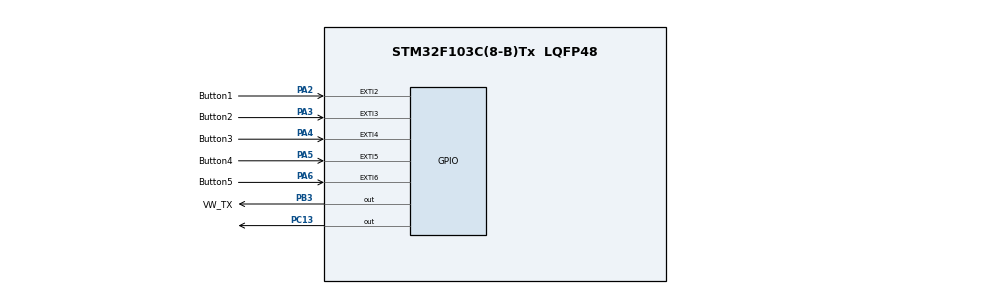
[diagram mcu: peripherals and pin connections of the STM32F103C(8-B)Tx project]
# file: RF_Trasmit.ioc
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Mcu.Family=STM32F1
PA2.GPIO_PuPd=GPIO_PULLUP
NVIC.EXTI4_IRQn=true\:2\:0\:true\:false\:true\:true\:true
PA5.GPIO_ModeDefaultEXTI=GPIO_MODE_IT_FALLING
PA6.GPIO_ModeDefaultEXTI=GPIO_MODE_IT_FALLING
PD1-OSC_OUT.Mode=HSE-External-Oscillator
TIM1.Channel-Output\ Compare1\ No\ Output=TIM_CHANNEL_1
PA3.GPIO_PuPd=GPIO_PULLUP
NVIC.EXTI3_IRQn=true\:2\:0\:true\:false\:true\:true\:true
PC13-TAMPER-RTC.Signal=GPIO_Output
PA6.GPIO_Label=Button5
PD0-OSC_IN.Signal=RCC_OSC_IN
ProjectManager.StackSize=0x400
VP_TIM1_VS_no_output1.Mode=Output Compare1 No Output
PD1-OSC_OUT.Signal=RCC_OSC_OUT
PA3.GPIO_ModeDefaultEXTI=GPIO_MODE_IT_FALLING
PA13.Signal=SYS_JTMS-SWDIO
TIM1.Prescaler=7
ProjectManager.TargetToolchain=MDK-ARM V5
PA4.GPIO_ModeDefaultEXTI=GPIO_MODE_IT_FALLING
PD0-OSC_IN.Mode=HSE-External-Oscillator
PA5.Signal=GPXTI5
PA4.GPIO_PuPd=GPIO_PULLUP
board=custom
RCC.APB2Freq_Value=8000000
PA6.GPIO_PuPd=GPIO_PULLUP
PB3.GPIO_PuPd=GPIO_PULLDOWN
PA14.Mode=Serial_Wire
PA5.GPIO_PuPd=GPIO_PULLUP
PA13.Mode=Serial_Wire
Mcu.Name=STM32F103C(8-B)Tx
VP_TIM1_VS_ClockSourceINT.Mode=Internal
PA2.Signal=GPXTI2
NVIC.TIM1_CC_IRQn=true\:1\:0\:true\:false\:true\:true\:true
PB3.Signal=GPIO_Output
PA4.Signal=GPXTI4
Mcu.Package=LQFP48
PA6.Signal=GPXTI6
PA5.GPIO_Label=Button4
PC13-TAMPER-RTC.GPIO_PuPd=GPIO_PULLDOWN
PA2.GPIO_Label=Button1
NVIC.EXTI9_5_IRQn=true\:2\:0\:true\:false\:true\:true\:true
PA14.Signal=SYS_JTCK-SWCLK
ProjectManager.HeapSize=0x200
PA2.GPIO_ModeDefaultEXTI=GPIO_MODE_IT_FALLING
NVIC.PriorityGroup=NVIC_PRIORITYGROUP_4
NVIC.EXTI2_IRQn=true\:2\:0\:true\:false\:true\:true\:true
TIM1.Period=121
RCC.APB1Freq_Value=8000000
PA4.GPIO_Label=Button3
PA3.GPIO_Label=Button2
PA3.Signal=GPXTI3
PB3.GPIO_Label=VW_TX

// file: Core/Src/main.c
/* USER CODE BEGIN Header */
/**
  ******************************************************************************
  * @file           : main.c
  * @brief          : Main program body
  ******************************************************************************
  * @attention
  *
  * <h2><center>&copy; Copyright (c) 2021 STMicroelectronics.
  * All rights reserved.</center></h2>
  *
  * This software component is licensed by ST under BSD 3-Clause license,
  * the "License"; You may not use this file except in compliance with the
  * License. You may obtain a copy of the License at:
  *                        opensource.org/licenses/BSD-3-Clause
  *
  ******************************************************************************
  */
/* USER CODE END Header */
#include "main.h"

/* USER CODE BEGIN Includes */
#include "RF433_TX.h"
/* USER CODE END Includes */

TIM_HandleTypeDef htim1;

void SystemClock_Config(void);
static void MX_GPIO_Init(void);
static void MX_TIM1_Init(void);

/* USER CODE BEGIN 0 */
uint16_t a;
uint8_t flag_button = 0, flag_timer = 0;
void HAL_GPIO_EXTI_Callback(uint16_t GPIO_Pin)
{
	if(GPIO_Pin == Button1_Pin)
	{
		__HAL_RCC_TIM1_CLK_ENABLE();
		vw_send((uint8_t*)"One",3);
		vw_wait_tx();
		__HAL_RCC_TIM1_CLK_DISABLE();
		flag_button = 1;
	}

	if(GPIO_Pin == Button2_Pin)
	{
		__HAL_RCC_TIM1_CLK_ENABLE();
		vw_send((uint8_t*)"Two",3);
		vw_wait_tx();
		__HAL_RCC_TIM1_CLK_DISABLE();
		flag_button = 1;
	}

	if(GPIO_Pin == Button3_Pin)
	{
		__HAL_RCC_TIM1_CLK_ENABLE();
			vw_send((uint8_t*)"Three",5);
		  vw_wait_tx();
		  __HAL_RCC_TIM1_CLK_DISABLE();
		  flag_button = 1;
	}

	if(GPIO_Pin == Button4_Pin)
	{
		__HAL_RCC_TIM1_CLK_ENABLE();
			vw_send((uint8_t*)"Four",4);
		  vw_wait_tx();
		  __HAL_RCC_TIM1_CLK_DISABLE();
		  flag_button = 1;

	}
	if(GPIO_Pin == Button5_Pin)
	{
		__HAL_RCC_TIM1_CLK_ENABLE();
			vw_send((uint8_t*)"Five",4);
		  vw_wait_tx();
		  __HAL_RCC_TIM1_CLK_DISABLE();
			flag_button = 1;
	}
}

void HAL_TIM_OC_DelayElapsedCallback(TIM_HandleTypeDef *htim)
{
	a++;
	if(htim->Instance == TIM1 && htim->Channel == HAL_TIM_ACTIVE_CHANNEL_1)
	{
		transmit_Data_In_Interrupt();
		flag_timer = 1;
	}

}

/* USER CODE END 0 */

int main(void)
{

  /* MCU Configuration--------------------------------------------------------*/

  /* Reset of all peripherals, Initializes the Flash interface and the Systick. */
  HAL_Init();

  /* Configure the system clock */
  SystemClock_Config();

  /* Initialize all configured peripherals */
  MX_GPIO_Init();
  MX_TIM1_Init();

  /* Infinite loop */
  /* USER CODE BEGIN WHILE */
	HAL_TIM_OC_Start_IT(&htim1,TIM_CHANNEL_1);
	__HAL_RCC_TIM1_CLK_DISABLE();
	HAL_SuspendTick();
	HAL_PWR_EnterSLEEPMode(PWR_MAINREGULATOR_ON,PWR_SLEEPENTRY_WFI);
  while (1)
  {
    /* USER CODE END WHILE */

    /* USER CODE BEGIN 3 */
		if(flag_button==1)
		{
			flag_button=0;
			HAL_PWR_EnterSLEEPMode(PWR_MAINREGULATOR_ON,PWR_SLEEPENTRY_WFI);
		}

				if(flag_timer==1)
		{
			flag_timer=0;
			HAL_PWR_EnterSLEEPMode(PWR_MAINREGULATOR_ON,PWR_SLEEPENTRY_WFI);
		}

  }
  /* USER CODE END 3 */
}

void SystemClock_Config(void)
{
  RCC_OscInitTypeDef RCC_OscInitStruct = {0};
  RCC_ClkInitTypeDef RCC_ClkInitStruct = {0};

  /** Initializes the RCC Oscillators according to the specified parameters
  * in the RCC_OscInitTypeDef structure.
  */
  RCC_OscInitStruct.OscillatorType = RCC_OSCILLATORTYPE_HSI;
  RCC_OscInitStruct.HSIState = RCC_HSI_ON;
  RCC_OscInitStruct.HSICalibrationValue = RCC_HSICALIBRATION_DEFAULT;
  RCC_OscInitStruct.PLL.PLLState = RCC_PLL_NONE;
  if (HAL_RCC_OscConfig(&RCC_OscInitStruct) != HAL_OK)
  {
    Error_Handler();
  }
  /** Initializes the CPU, AHB and APB buses clocks
  */
  RCC_ClkInitStruct.ClockType = RCC_CLOCKTYPE_HCLK|RCC_CLOCKTYPE_SYSCLK
                              |RCC_CLOCKTYPE_PCLK1|RCC_CLOCKTYPE_PCLK2;
  RCC_ClkInitStruct.SYSCLKSource = RCC_SYSCLKSOURCE_HSI;
  RCC_ClkInitStruct.AHBCLKDivider = RCC_SYSCLK_DIV1;
  RCC_ClkInitStruct.APB1CLKDivider = RCC_HCLK_DIV1;
  RCC_ClkInitStruct.APB2CLKDivider = RCC_HCLK_DIV1;

  if (HAL_RCC_ClockConfig(&RCC_ClkInitStruct, FLASH_LATENCY_0) != HAL_OK)
  {
    Error_Handler();
  }
}

static void MX_TIM1_Init(void)
{

  TIM_ClockConfigTypeDef sClockSourceConfig = {0};
  TIM_MasterConfigTypeDef sMasterConfig = {0};
  TIM_OC_InitTypeDef sConfigOC = {0};
  TIM_BreakDeadTimeConfigTypeDef sBreakDeadTimeConfig = {0};

  htim1.Instance = TIM1;
  htim1.Init.Prescaler = 7;
  htim1.Init.CounterMode = TIM_COUNTERMODE_UP;
  htim1.Init.Period = 121;
  htim1.Init.ClockDivision = TIM_CLOCKDIVISION_DIV1;
  htim1.Init.RepetitionCounter = 0;
  htim1.Init.AutoReloadPreload = TIM_AUTORELOAD_PRELOAD_DISABLE;
  if (HAL_TIM_Base_Init(&htim1) != HAL_OK)
  {
    Error_Handler();
  }
  sClockSourceConfig.ClockSource = TIM_CLOCKSOURCE_INTERNAL;
  if (HAL_TIM_ConfigClockSource(&htim1, &sClockSourceConfig) != HAL_OK)
  {
    Error_Handler();
  }
  if (HAL_TIM_OC_Init(&htim1) != HAL_OK)
  {
    Error_Handler();
  }
  sMasterConfig.MasterOutputTrigger = TIM_TRGO_RESET;
  sMasterConfig.MasterSlaveMode = TIM_MASTERSLAVEMODE_DISABLE;
  if (HAL_TIMEx_MasterConfigSynchronization(&htim1, &sMasterConfig) != HAL_OK)
  {
    Error_Handler();
  }
  sConfigOC.OCMode = TIM_OCMODE_TIMING;
  sConfigOC.Pulse = 0;
  sConfigOC.OCPolarity = TIM_OCPOLARITY_HIGH;
  sConfigOC.OCNPolarity = TIM_OCNPOLARITY_HIGH;
  sConfigOC.OCFastMode = TIM_OCFAST_DISABLE;
  sConfigOC.OCIdleState = TIM_OCIDLESTATE_RESET;
  sConfigOC.OCNIdleState = TIM_OCNIDLESTATE_RESET;
  if (HAL_TIM_OC_ConfigChannel(&htim1, &sConfigOC, TIM_CHANNEL_1) != HAL_OK)
  {
    Error_Handler();
  }
  sBreakDeadTimeConfig.OffStateRunMode = TIM_OSSR_DISABLE;
  sBreakDeadTimeConfig.OffStateIDLEMode = TIM_OSSI_DISABLE;
  sBreakDeadTimeConfig.LockLevel = TIM_LOCKLEVEL_OFF;
  sBreakDeadTimeConfig.DeadTime = 0;
  sBreakDeadTimeConfig.BreakState = TIM_BREAK_DISABLE;
  sBreakDeadTimeConfig.BreakPolarity = TIM_BREAKPOLARITY_HIGH;
  sBreakDeadTimeConfig.AutomaticOutput = TIM_AUTOMATICOUTPUT_DISABLE;
  if (HAL_TIMEx_ConfigBreakDeadTime(&htim1, &sBreakDeadTimeConfig) != HAL_OK)
  {
    Error_Handler();
  }

}

static void MX_GPIO_Init(void)
{
  GPIO_InitTypeDef GPIO_InitStruct = {0};

  /* GPIO Ports Clock Enable */
  __HAL_RCC_GPIOC_CLK_ENABLE();
  __HAL_RCC_GPIOD_CLK_ENABLE();
  __HAL_RCC_GPIOA_CLK_ENABLE();
  __HAL_RCC_GPIOB_CLK_ENABLE();

  /*Configure GPIO pin Output Level */
  HAL_GPIO_WritePin(GPIOC, GPIO_PIN_13, GPIO_PIN_RESET);

  /*Configure GPIO pin Output Level */
  HAL_GPIO_WritePin(VW_TX_GPIO_Port, VW_TX_Pin, GPIO_PIN_RESET);

  /*Configure GPIO pin : PC13 */
  GPIO_InitStruct.Pin = GPIO_PIN_13;
  GPIO_InitStruct.Mode = GPIO_MODE_OUTPUT_PP;
  GPIO_InitStruct.Pull = GPIO_PULLDOWN;
  GPIO_InitStruct.Speed = GPIO_SPEED_FREQ_LOW;
  HAL_GPIO_Init(GPIOC, &GPIO_InitStruct);

  /*Configure GPIO pins : Button1_Pin Button2_Pin Button3_Pin Button4_Pin
                           Button5_Pin */
  GPIO_InitStruct.Pin = Button1_Pin|Button2_Pin|Button3_Pin|Button4_Pin
                          |Button5_Pin;
  GPIO_InitStruct.Mode = GPIO_MODE_IT_FALLING;
  GPIO_InitStruct.Pull = GPIO_PULLUP;
  HAL_GPIO_Init(GPIOA, &GPIO_InitStruct);

  /*Configure GPIO pin : VW_TX_Pin */
  GPIO_InitStruct.Pin = VW_TX_Pin;
  GPIO_InitStruct.Mode = GPIO_MODE_OUTPUT_PP;
  GPIO_InitStruct.Pull = GPIO_PULLDOWN;
  GPIO_InitStruct.Speed = GPIO_SPEED_FREQ_LOW;
  HAL_GPIO_Init(VW_TX_GPIO_Port, &GPIO_InitStruct);

  /* EXTI interrupt init*/
  HAL_NVIC_SetPriority(EXTI2_IRQn, 2, 0);
  HAL_NVIC_EnableIRQ(EXTI2_IRQn);

  HAL_NVIC_SetPriority(EXTI3_IRQn, 2, 0);
  HAL_NVIC_EnableIRQ(EXTI3_IRQn);

  HAL_NVIC_SetPriority(EXTI4_IRQn, 2, 0);
  HAL_NVIC_EnableIRQ(EXTI4_IRQn);

  HAL_NVIC_SetPriority(EXTI9_5_IRQn, 2, 0);
  HAL_NVIC_EnableIRQ(EXTI9_5_IRQn);

}

void Error_Handler(void)
{
}

/************************ (C) COPYRIGHT STMicroelectronics *****END OF FILE****/
